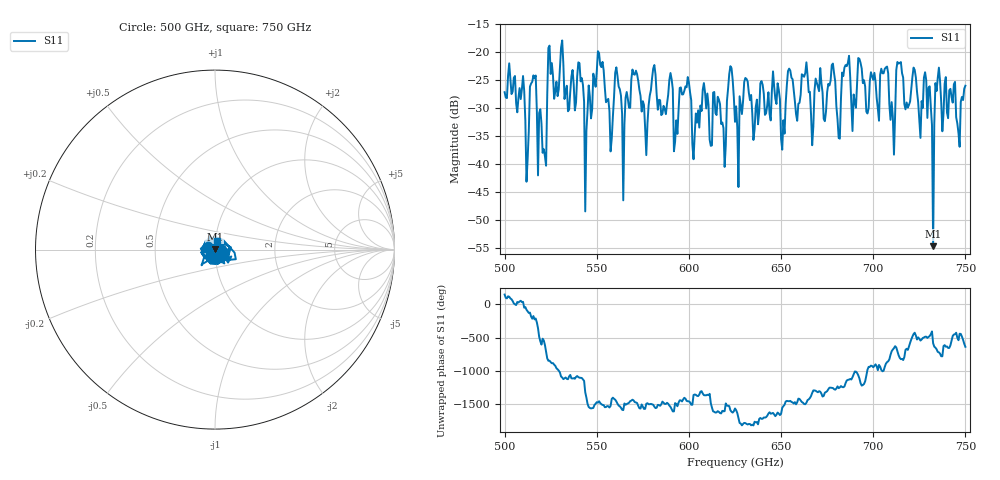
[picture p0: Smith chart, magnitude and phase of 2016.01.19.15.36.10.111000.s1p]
!Created with skrf (http://scikit-rf.org).
# GHz S RI R 50.0
!freq ReS11 ImS11
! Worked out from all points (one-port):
!   401 points, 500 GHz to 750 GHz, reference 50 ohm
!   lowest |S11| = -54.7 dB at 732.5 GHz (marker M1), VSWR 1.00, Z = 49.9 + j0.136 ohm
!   |S11| at or under -10 dB: start of sweep to end of sweep
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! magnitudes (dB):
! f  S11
! 500 GHz  -27.1
! 509.4 GHz  -26.6
! 511.9 GHz  -43.2
! 515.6 GHz  -24.1
! 521.2 GHz  -37.3
! 524.4 GHz  -18.8
! 531.2 GHz  -17.9
! 541.2 GHz  -25.2
! 543.8 GHz  -48.5
! 551.9 GHz  -22.2
! 557.5 GHz  -37.7
! 562.5 GHz  -26.6
! 593.8 GHz  -34.6
! 625 GHz  -32.4
! 646.9 GHz  -28.3
! 651.2 GHz  -32.2
! 656.2 GHz  -24.8
! 681.2 GHz  -35.3
! 687.5 GHz  -24.4
! 706.9 GHz  -22.7
! 710.6 GHz  -31.5
! 713.8 GHz  -22.0
! 718.8 GHz  -29.9
! 728.8 GHz  -25.0
! 732.5 GHz  -54.7
! 735 GHz  -24.6
! 746.2 GHz  -34.4
! 750 GHz  -26.0
